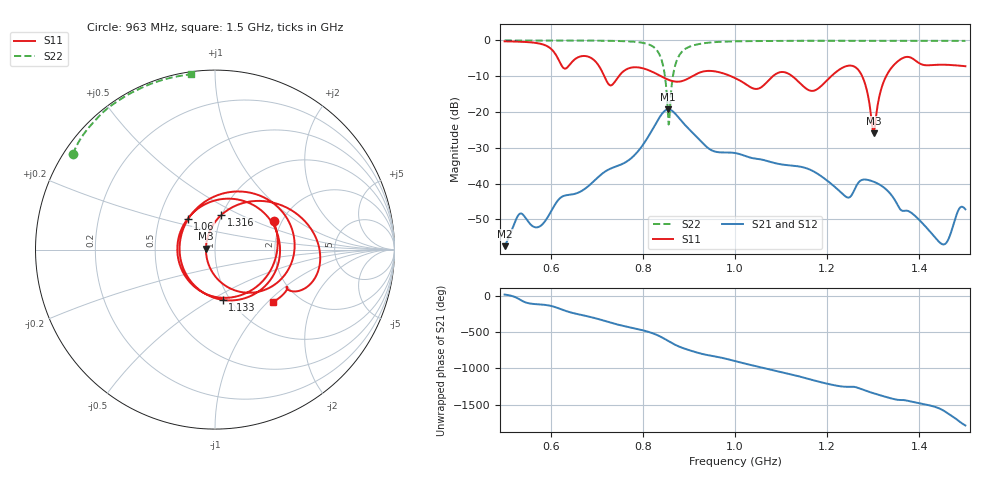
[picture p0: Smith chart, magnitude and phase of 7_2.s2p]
! TOUCHSTONE file generated by CST MICROWAVE STUDIO
! Date and time: Mon Nov 30 09:06:28 2020
! Project name: Scenario_1_Planar_Body_Tissue_Out_of_Line_v2.cst
! Parameters = {dy1=-242.2; L_HA=400; Ltissue=700; MT=2.54; Rad_Dielectric=30; Rad_Lower=7.3; Rad_Upper=30; Wtissue=700; a_HA=580; a_WG=246; b_HA=500; b_WG=121; c_HA=0; c_WG=187; d_feed=85; dx1=346; h_feed=15; h_lower=18; h_upper=40; hfat=3; hgap=25; hmuscle=50; hskin=1.5}
! Header version: 2018
! Port assignment regex: !\s*Touchstone port\s*([0-9]+)\s*=\s*(CST MWS port|CST DS port)\s*([0-9]+|Zmin|Zmax)\s*\(\"(.*)\"\)(\s*mode\s*([0-9]+))?.*
! Touchstone port assignment:
! Touchstone port 1 = CST MWS port 1 ("")
! Touchstone port 2 = CST MWS port 2 ("")
# GHz S DB R 50
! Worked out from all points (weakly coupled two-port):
!   1003 points, 500 MHz to 1.5 GHz, reference 50 ohm
!   highest |S21| = -19.24 dB at 855 MHz (marker M1); lowest = -57.5 dB at 500 MHz (marker M2)
!   lowest |S11| = -25.9 dB at 1.301 GHz (marker M3), VSWR 1.11, Z = 45.2 + j0.416 ohm
!   |S11| at or under -10 dB: 839.6 MHz to 907.3 MHz (67.73 MHz wide, 7.75 % of centre); 991.4 MHz to 1.082 GHz (90.74 MHz wide, 8.75 % of centre); 1.124 GHz to 1.209 GHz (84.41 MHz wide, 7.24 % of centre)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
!   |S22| runs from -23.5 to 0.0 dB; largest |S21 - S12| = 6.8e-05
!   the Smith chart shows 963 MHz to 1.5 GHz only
!   S11 on the Smith chart (normalised r, x): 963 MHz: 1.81, +0.66; 1.06 GHz: 0.70, +0.25; 1.133 GHz: 0.93, -0.56; 1.316 GHz: 0.99, +0.40; 1.5 GHz: 1.50, -1.08
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0.5  -0.25 -121.8  -57.45 13.8  -57.45 13.8  -0.01 151.1
0.667  -4.39 156.7  -42.04 92.5  -42.04 92.5  -0.04 138.3
0.717  -10.17 32.5  -36.72 11.4  -36.72 11.4  -0.09 132.7
0.742  -11.02 -101.9  -35.19 -34.0  -35.19 -34.0  -0.15 128.8
0.771  -7.72 174.0  -33.28 -76.4  -33.28 -76.4  -0.28 122.7
0.834  -9.63 43.2  -21.94 167.8  -21.94 167.8  -3.43 81.5
0.855  -10.95 -8.2  -19.24 94.6  -19.24 94.6  -21.61 -7.8
0.876  -11.52 -68.0  -21.29 24.9  -21.29 24.9  -4.89 -169.3
0.913  -9.59 170.0  -26.38 -56.0  -26.38 -56.0  -1.26 160.2
0.963  -8.80 25.9  -31.20 -125.9  -31.20 -125.9  -0.42 146.1
1  -10.51 -54.1  -31.44 178.6  -31.44 178.6  -0.25 140.1
1.06  -12.78 131.8  -33.33 85.6  -33.33 85.6  -0.17 133.4
1.1  -8.83 5.1  -34.61 26.9  -34.61 26.9  -0.12 129.7
1.133  -10.94 -81.2  -35.08 -22.6  -35.08 -22.6  -0.10 126.9
1.167  -14.10 -176.3  -36.34 -80.6  -36.34 -80.6  -0.09 124.1
1.218  -8.96 65.1  -41.05 -157.5  -41.05 -157.5  -0.09 120.2
1.26  -7.38 -12.9  -41.49 -177.9  -41.49 -177.9  -0.09 117.0
1.301  -25.92 174.8  -39.46 94.5  -39.46 94.5  -0.09 114.0
1.316  -14.17 79.7  -40.43 65.8  -40.43 65.8  -0.08 112.9
1.334  -8.65 47.3  -42.36 32.8  -42.36 32.8  -0.08 111.5
1.451  -6.78 -30.1  -56.95 -137.6  -56.95 -137.7  -0.11 102.1
1.5  -7.20 -41.8  -47.16 12.1  -47.16 12.1  -0.13 97.9
